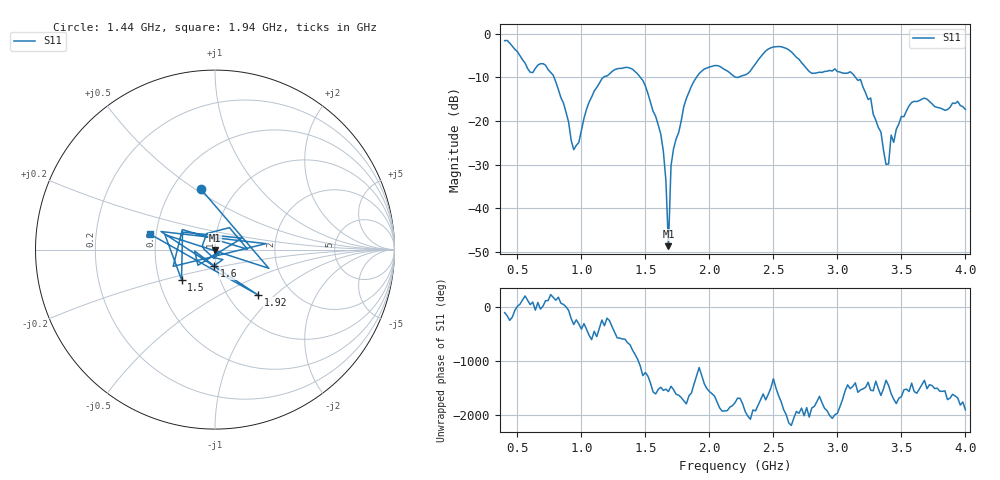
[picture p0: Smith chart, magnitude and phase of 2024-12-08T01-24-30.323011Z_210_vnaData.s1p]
!Created with skrf (http://scikit-rf.org).
# Hz S RI R 50.0
!freq ReS11 ImS11
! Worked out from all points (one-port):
!   181 points, 400 MHz to 4 GHz, reference 50 ohm
!   lowest |S11| = -48.7 dB at 1.68 GHz (marker M1), VSWR 1.01, Z = 49.8 - j0.272 ohm
!   |S11| at or under -10 dB: 786.1 MHz to 1.173 GHz (386.5 MHz wide, 39.5 % of centre); 1.461 GHz to 1.899 GHz (438.4 MHz wide, 26.1 % of centre); 3.14 GHz to end of sweep (the widest 3 of 4)
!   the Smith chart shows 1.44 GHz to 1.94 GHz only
!   S11 on the Smith chart (normalised r, x): 1.44 GHz: 0.69, +0.53; 1.5 GHz: 0.65, -0.23; 1.6 GHz: 0.97, -0.18; 1.92 GHz: 1.37, -0.79; 1.94 GHz: 0.46, +0.09
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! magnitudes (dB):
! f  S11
! 400 MHz  -1.6
! 600 MHz  -8.8
! 720 MHz  -7.2
! 860 MHz  -15.9
! 940 MHz  -26.6
! 1.1 GHz  -13.1
! 1.3 GHz  -8.0
! 1.44 GHz  -9.2
! 1.5 GHz  -12.0
! 1.6 GHz  -20.9
! 1.66 GHz  -33.6
! 1.68 GHz  -48.7
! 1.7 GHz  -30.3
! 1.76 GHz  -22.6
! 1.82 GHz  -14.8
! 1.92 GHz  -9.1
! 1.94 GHz  -8.6
! 2.2 GHz  -9.9
! 2.48 GHz  -3.2
! 2.66 GHz  -4.8
! 2.8 GHz  -9.1
! 3.1 GHz  -8.7
! 3.26 GHz  -14.7
! 3.38 GHz  -29.9
! 3.4 GHz  -29.8
! 3.42 GHz  -23.2
! 3.56 GHz  -16.5
! 4 GHz  -17.4
